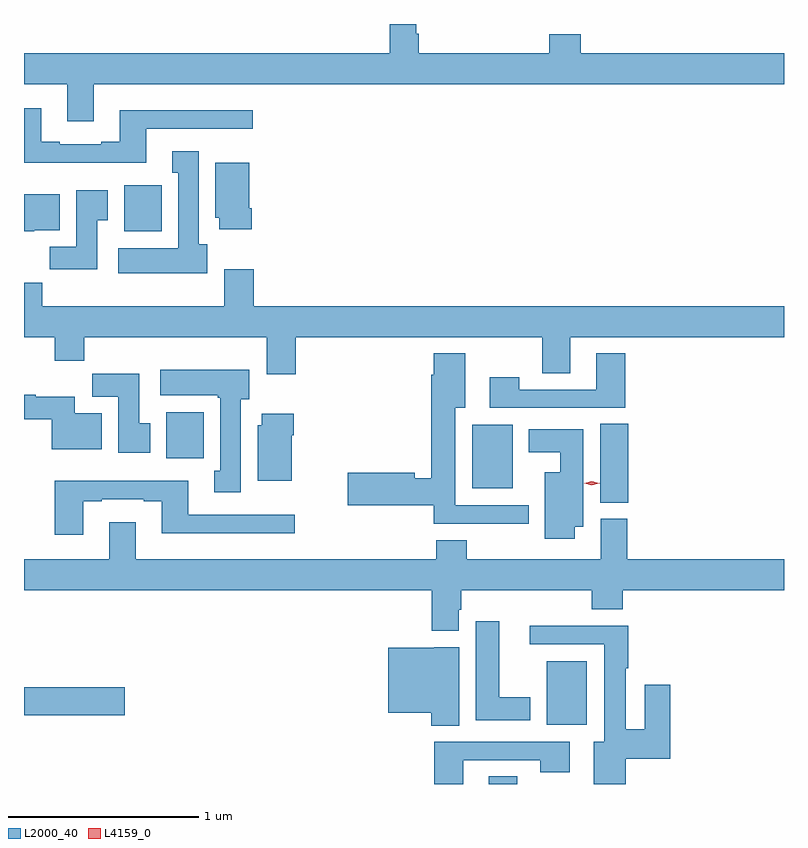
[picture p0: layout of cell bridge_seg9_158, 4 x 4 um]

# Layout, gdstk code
import gdstk
lib = gdstk.Library(unit=1e-6, precision=1e-09)
def R(c, l, rs):  # rectangles x0, y0, x1, y1
    for r in rs: c.add(gdstk.rectangle(r[:2], r[2:], *l))
def P(c, l, *ps):  # polygons
    for p in ps: c.add(gdstk.Polygon(p, *l))
L2000_40 = (2000, 40)
L4159_0 = (4159, 0)

bridge_seg9_158 = lib.new_cell('bridge_seg9_158')
R(bridge_seg9_158, L2000_40, [(340.589,1235.361,340.737,1235.402), (340.892,1235.672,341.104,1236.007), (338.142,1235.723,338.671,1235.87), (341.174,1236.841,341.321,1237.256), (340.502,1236.917,340.714,1237.252), (338.891,1237.076,339.088,1237.318), (338.669,1238.27,338.866,1238.512)])
P(bridge_seg9_158, L2000_40, [(338.509,1239.044),(342.142,1239.044),(342.142,1239.208),(341.072,1239.208),(341.072,1239.307),(340.907,1239.307),(340.907,1239.208),(340.22,1239.208),(340.22,1239.309),(340.207,1239.309),(340.207,1239.361),(340.067,1239.361),(340.067,1239.208),(338.142,1239.208),(338.142,1239.044),(338.369,1239.044),(338.369,1238.85),(338.509,1238.85)],
  [(338.785,1238.811),(339.346,1238.811),(339.346,1238.908),(338.645,1238.908),(338.645,1238.74),(338.549,1238.74),(338.549,1238.727),(338.329,1238.727),(338.329,1238.74),(338.233,1238.74),(338.233,1238.917),(338.142,1238.917),(338.142,1238.63),(338.785,1238.63)],
  [(339.106,1238.202),(339.061,1238.202),(339.061,1238.692),(338.921,1238.692),(338.921,1238.579),(338.954,1238.579),(338.954,1238.182),(338.637,1238.182),(338.637,1238.048),(339.106,1238.048)],
  [(339.341,1238.392),(339.328,1238.392),(339.328,1238.632),(339.149,1238.632),(339.149,1238.34),(339.17,1238.34),(339.17,1238.28),(339.341,1238.28)],
  [(338.527,1238.329),(338.584,1238.329),(338.584,1238.485),(338.417,1238.485),(338.417,1238.188),(338.278,1238.188),(338.278,1238.07),(338.527,1238.07)],
  [(338.196,1238.276),(338.329,1238.276),(338.329,1238.464),(338.142,1238.464),(338.142,1238.27),(338.196,1238.27)],
  [(339.572,1237.712),(340.87,1237.712),(340.87,1237.522),(341.017,1237.522),(341.017,1237.712),(342.142,1237.712),(342.142,1237.876),(339.35,1237.876),(339.35,1238.071),(339.197,1238.071),(339.197,1237.876),(338.237,1237.876),(338.237,1238),(338.142,1238),(338.142,1237.712),(338.303,1237.712),(338.303,1237.588),(338.459,1237.588),(338.459,1237.712),(339.419,1237.712),(339.419,1237.518),(339.572,1237.518)],
  [(340.798,1236.828),(340.411,1236.828),(340.411,1237.34),(340.465,1237.34),(340.465,1237.627),(340.298,1237.627),(340.298,1237.514),(340.286,1237.514),(340.286,1236.97),(340.198,1236.97),(340.198,1236.998),(339.846,1236.998),(339.846,1236.827),(340.298,1236.827),(340.298,1236.731),(340.798,1236.731)],
  [(341.306,1237.627),(341.153,1237.627),(341.153,1237.437),(340.749,1237.437),(340.749,1237.501),(340.593,1237.501),(340.593,1237.341),(341.306,1237.341)],
  [(339.283,1237.386),(339.328,1237.386),(339.328,1237.54),(338.859,1237.54),(338.859,1237.406),(339.163,1237.406),(339.163,1237.393),(339.176,1237.393),(339.176,1237.01),(339.143,1237.01),(339.143,1236.897),(339.283,1236.897)],
  [(338.806,1237.26),(338.749,1237.26),(338.749,1237.519),(338.5,1237.519),(338.5,1237.4),(338.639,1237.4),(338.639,1237.104),(338.806,1237.104)],
  [(338.551,1237.312),(338.41,1237.312),(338.41,1237.4),(338.204,1237.4),(338.204,1237.411),(338.142,1237.411),(338.142,1237.282),(338.288,1237.282),(338.288,1237.124),(338.551,1237.124)],
  [(339.55,1237.196),(339.563,1237.196),(339.563,1237.309),(339.392,1237.309),(339.392,1237.248),(339.371,1237.248),(339.371,1236.956),(339.55,1236.956)],
  [(341.041,1236.716),(341.086,1236.716),(341.086,1237.228),(340.799,1237.228),(340.799,1237.106),(340.964,1237.106),(340.964,1237.003),(340.883,1237.003),(340.883,1236.651),(341.041,1236.651)],
  [(338.455,1236.849),(338.551,1236.849),(338.551,1236.861),(338.771,1236.861),(338.771,1236.849),(338.867,1236.849),(338.867,1236.68),(339.568,1236.68),(339.568,1236.777),(339.007,1236.777),(339.007,1236.958),(338.303,1236.958),(338.303,1236.672),(338.455,1236.672)],
  [(340.429,1236.279),(340.442,1236.279),(340.442,1236.38),(341.129,1236.38),(341.129,1236.281),(341.294,1236.281),(341.294,1236.38),(342.142,1236.38),(342.142,1236.544),(341.318,1236.544),(341.318,1236.756),(341.177,1236.756),(341.177,1236.544),(340.473,1236.544),(340.473,1236.643),(340.313,1236.643),(340.313,1236.544),(338.731,1236.544),(338.731,1236.739),(338.591,1236.739),(338.591,1236.544),(338.142,1236.544),(338.142,1236.38),(340.289,1236.38),(340.289,1236.167),(340.429,1236.167)],
  [(340.807,1235.818),(340.642,1235.818),(340.642,1236.217),(340.52,1236.217),(340.52,1235.696),(340.807,1235.696)],
  [(341.308,1235.495),(341.543,1235.495),(341.543,1235.884),(341.408,1235.884),(341.408,1235.648),(341.308,1235.648),(341.308,1235.971),(341.321,1235.971),(341.321,1236.194),(340.803,1236.194),(340.803,1236.096),(341.195,1236.096),(341.195,1235.584),(341.141,1235.584),(341.141,1235.361),(341.308,1235.361)],
  [(340.432,1236.082),(340.302,1236.082),(340.302,1236.079),(340.058,1236.079),(340.058,1235.735),(340.286,1235.735),(340.286,1235.668),(340.432,1235.668)],
  [(340.453,1235.487),(340.858,1235.487),(340.858,1235.424),(341.014,1235.424),(341.014,1235.583),(340.301,1235.583),(340.301,1235.361),(340.453,1235.361)])
P(bridge_seg9_158, L4159_0, [(341.13,1236.934),(341.09,1236.944),(341.09,1236.944),(341.09,1236.944),(341.13,1236.954),(341.17,1236.944),(341.171,1236.944),(341.17,1236.944)])

lib.write_gds('bridge_seg9_158.gds')
